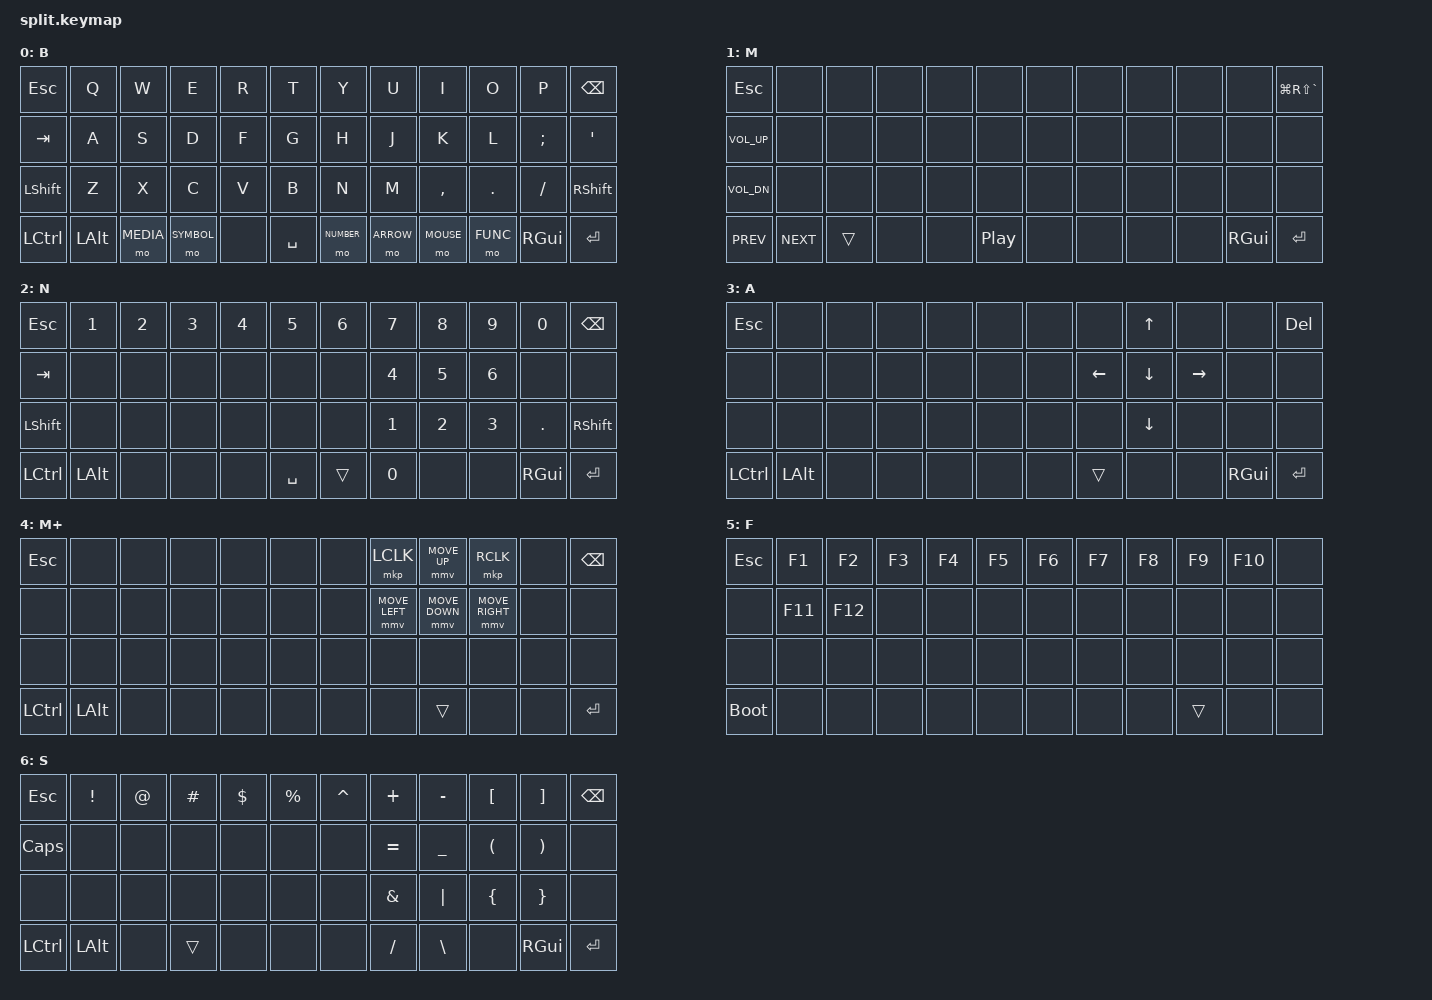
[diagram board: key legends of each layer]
#include <behaviors.dtsi>
#include <dt-bindings/zmk/keys.h>
#include <dt-bindings/zmk/bt.h>
#include <dt-bindings/zmk/mouse.h>

#define DEFAULT 0
#define MEDIA 1
#define NUMBER 2
#define ARROW 3
#define MOUSE 4
#define FUNC 5
#define SYMBOL 6
/ {
    keymap {
        compatible = "zmk,keymap";

// ----------------------------------------------------------------------------------------------------
//           |  esc     |   Q     |   W     |   E     |   R     |   T   |          |   Y      |   U    |   I      |   O    |   P      |   bs   | 
//           |  tab     |   A     |   S     |   D     |   F     |   G   |          |   H      |   J    |   K      |   L    |   ;      |   '    |
//           | LSHIFT   |   Z     |   X     |   C     |   V     |   B   |          |   N      |   M    |   ,      |   .    |   /      | RSHIFT |
//           |          |         |         | ctrl    | space   |  sym  |          |  num     |  alt   |          |        |          |        |

        default_layer {
            display-name = "B";
            bindings = <
                &kp ESC    &kp Q       &kp W      &kp E      &kp R      &kp T             &kp Y        &kp U      &kp I     &kp O      &kp P     &kp BSPC
                &kp TAB    &kp A       &kp S      &kp D      &kp F      &kp G             &kp H        &kp J      &kp K     &kp L      &kp SEMI  &kp APOS
                &kp LSHFT  &kp Z       &kp X      &kp C      &kp V      &kp B             &kp N        &kp M      &kp COMMA &kp DOT    &kp SLASH &kp RSHFT
                &kp LCTRL  &kp LALT    &mo MEDIA  &mo SYMBOL &none      &kp SPACE         &mo NUMBER   &mo ARROW  &mo MOUSE &mo FUNC   &kp RGUI  &kp ENTER 
            >; 
        };

        media_layer {
            display-name = "M";
            bindings = <
                &kp ESC       &none       &none      &none      &none      &none             &none        &none      &none     &none      &none     &kp LG(RS(GRAVE))
                &kp C_VOL_UP  &none       &none      &none      &none      &none             &none        &none      &none     &none      &none     &none
                &kp C_VOL_DN  &none       &none      &none      &none      &none             &none        &none      &none     &none      &none     &none
                &kp K_PREV    &kp K_NEXT  &trans     &none      &none      &kp C_PP          &none        &none      &none     &none      &kp RGUI  &kp ENTER
            >;
        };

        number_layer {
            display-name = "N";
            bindings = <
                &kp ESC    &kp N1      &kp N2     &kp N3     &kp N4     &kp N5            &kp N6       &kp N7     &kp N8    &kp N9     &kp N0    &kp BSPC
                &kp TAB    &none       &none      &none      &none      &none             &none        &kp N4     &kp N5    &kp N6     &none     &none
                &kp LSHFT  &none       &none      &none      &none      &none             &none        &kp N1     &kp N2    &kp N3     &kp DOT   &kp RSHFT
                &kp LCTRL  &kp LALT    &none      &none      &none      &kp SPACE         &trans       &kp N0     &none     &none      &kp RGUI  &kp ENTER
            >;
        };

        arrow_layer {
            display-name = "A";
            bindings = <
                &kp ESC    &none       &none      &none      &none      &none             &none        &none      &kp UP    &none      &none     &kp DEL
                &none      &none       &none      &none      &none      &none             &none        &kp LEFT   &kp DOWN  &kp RIGHT  &none     &none
                &none      &none       &none      &none      &none      &none             &none        &none      &kp DOWN  &none      &none     &none
                &kp LCTRL  &kp LALT    &none      &none      &none      &none             &none        &trans     &none     &none      &kp RGUI  &kp ENTER
            >;
        };


        mouse_layer {
            display-name = "M+";
            bindings = <
                &kp ESC    &none       &none      &none      &none      &none             &none        &mkp LCLK      &mmv MOVE_UP   &mkp RCLK       &none     &kp BSPC
                &none      &none       &none      &none      &none      &none             &none        &mmv MOVE_LEFT &mmv MOVE_DOWN &mmv MOVE_RIGHT &none     &none
                &none      &none       &none      &none      &none      &none             &none        &none          &none          &none           &none     &none
                &kp LCTRL  &kp LALT    &none      &none      &none      &none             &none        &none          &trans         &none           &none     &kp ENTER
            >;
        };

        func_layer {
            display-name = "F";
            bindings = <
                &kp ESC     &kp F1      &kp F2     &kp F3     &kp F4     &kp F5            &kp F6       &kp F7     &kp F8    &kp F9     &kp F10   &none
                &none       &kp F11     &kp F12    &none      &none      &none             &none        &none      &none     &none      &none     &none
                &none       &none       &none      &none      &none      &none             &none        &none      &none     &none      &none     &none
                &bootloader &none       &none      &none      &none      &none             &none        &none      &none     &trans     &none     &none
            >;
        };

        symbol_layer {
            display-name = "S";
            bindings = <
                &kp ESC    &kp EXCL    &kp AT     &kp HASH   &kp DLLR   &kp PRCNT         &kp CARET    &kp PLUS   &kp MINUS &kp LBKT   &kp RBKT  &kp BSPC
                &kp CAPS   &none       &none      &none      &none      &none             &none        &kp EQUAL  &kp UNDER &kp LPAR   &kp RPAR  &none
                &none      &none       &none      &none      &none      &none             &none        &kp AMPS   &kp PIPE  &kp LBRC   &kp RBRC  &none
                &kp LCTRL  &kp LALT    &none      &trans     &none      &none             &none        &kp FSLH   &kp BSLH  &none      &kp RGUI  &kp ENTER
            >;
        };


    };
};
